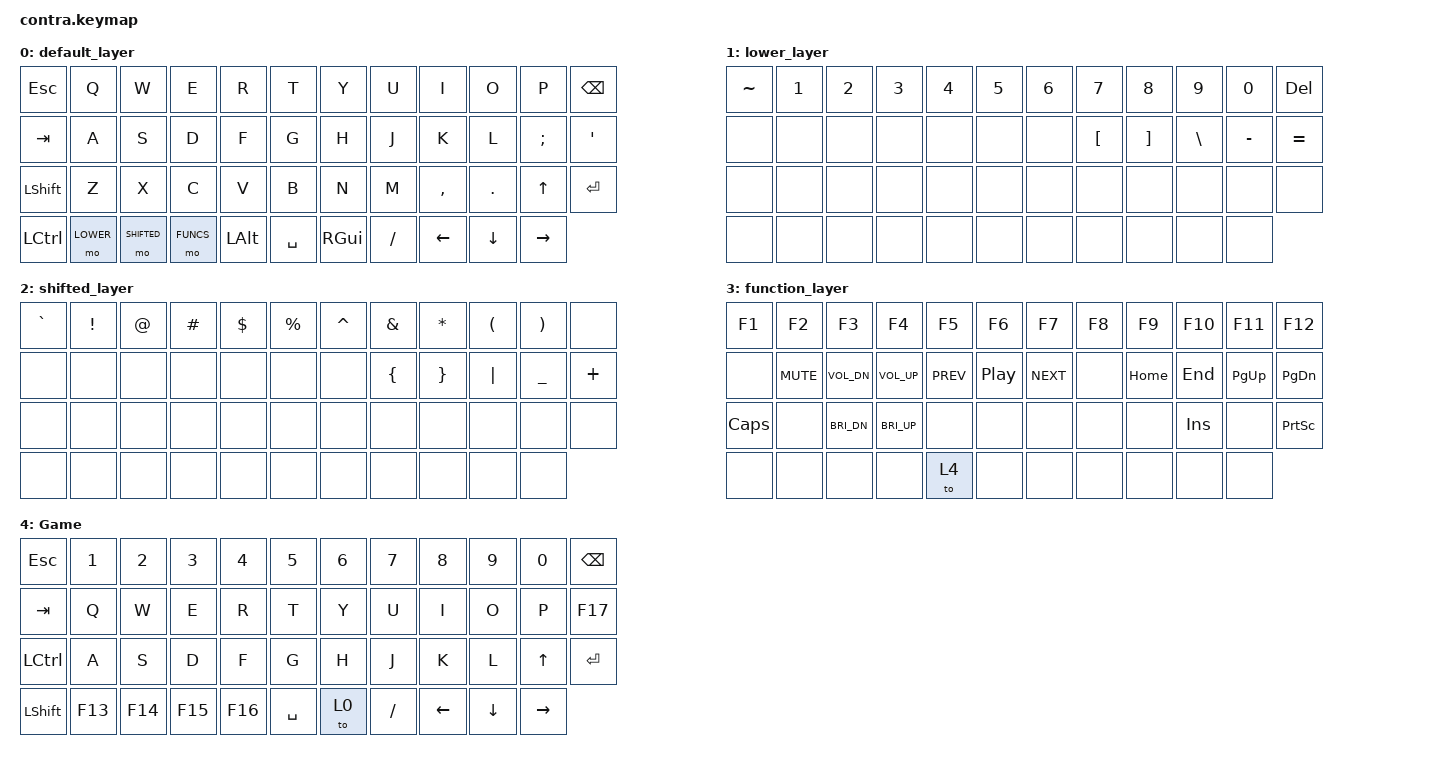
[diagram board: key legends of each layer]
/*
 * Copyright (c) 2021 The ZMK Contributors
 *
 * SPDX-License-Identifier: MIT
 */

#include <behaviors.dtsi>
#include <dt-bindings/zmk/keys.h>

#define DEFAULT 0
#define LOWER   1
#define SHIFTED 2
#define FUNCS   3

/ {
    keymap {
        compatible = "zmk,keymap";

        default_layer {
            bindings = <
&kp ESC    &kp Q      &kp W      &kp E      &kp R      &kp T      &kp Y      &kp U      &kp I      &kp O      &kp P      &kp BSPC
&kp TAB    &kp A      &kp S      &kp D      &kp F      &kp G      &kp H      &kp J      &kp K      &kp L      &kp SEMI   &kp SQT
&kp LSHFT  &kp Z      &kp X      &kp C      &kp V      &kp B      &kp N      &kp M      &kp COMMA  &kp DOT    &kp UP     &kp ENTER
&kp LCTRL  &mo LOWER  &mo SHIFTED &mo FUNCS &kp LALT   &kp SPACE  &kp RGUI   &kp FSLH   &kp LEFT   &kp DOWN   &kp RIGHT
            >;
        };

        lower_layer {
            bindings = <
&kp TILDE  &kp N1     &kp N2     &kp N3     &kp N4     &kp N5     &kp N6     &kp N7     &kp N8     &kp N9     &kp N0     &kp DEL
&none      &none      &none      &none      &none      &none      &none      &kp LBKT   &kp RBKT   &kp BSLH   &kp MINUS  &kp EQUAL
&none      &none      &none      &none      &none      &none      &none      &none      &none      &none      &none      &none
&none      &none      &none      &none      &none      &none      &none      &none      &none      &none      &none
            >;
        };

        shifted_layer {
            bindings = <
&kp GRAVE  &kp EXCL   &kp AT     &kp HASH   &kp DLLR   &kp PRCNT  &kp CARET  &kp AMPS   &kp STAR   &kp LPAR   &kp RPAR   &none
&none      &none      &none      &none      &none      &none      &none      &kp LBRC   &kp RBRC   &kp PIPE   &kp UNDER  &kp PLUS
&none      &none      &none      &none      &none      &none      &none      &none      &none      &none      &none      &none
&none      &none      &none      &none      &none      &none      &none      &none      &none      &none      &none
            >;
        };

        function_layer {
            bindings = <
&kp F1     &kp F2     &kp F3     &kp F4     &kp F5     &kp F6     &kp F7     &kp F8     &kp F9     &kp F10    &kp F11    &kp F12
&none      &kp C_MUTE &kp C_VOL_DN &kp C_VOL_UP &kp C_PREV &kp C_PP &kp C_NEXT &none &kp HOME &kp END &kp PG_UP &kp PG_DN
&kp CAPS   &none      &kp C_BRI_DN &kp C_BRI_UP &none &none &none &none &none &kp INS &none &kp PSCRN
&none      &none      &none      &none      &to 4      &none      &none      &none      &none      &none      &none
            >;
        };
        Game {
            bindings = <
&kp ESC      &kp N1     &kp N2     &kp N3     &kp N4     &kp N5     &kp N6     &kp N7     &kp N8     &kp N9     &kp N0     &kp BSPC
&kp TAB      &kp Q      &kp W      &kp E      &kp R      &kp T      &kp Y      &kp U      &kp I      &kp O      &kp P      &kp F17
&kp LCTRL    &kp A      &kp S      &kp D      &kp F      &kp G      &kp H      &kp J      &kp K      &kp L      &kp UP      &kp ENTER
&kp LSHFT    &kp F13      &kp F14      &kp F15      &kp F16      &kp SPACE      &to 0      &kp FSLH      &kp LEFT      &kp DOWN      &kp RIGHT
            >;
        };
    };
};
